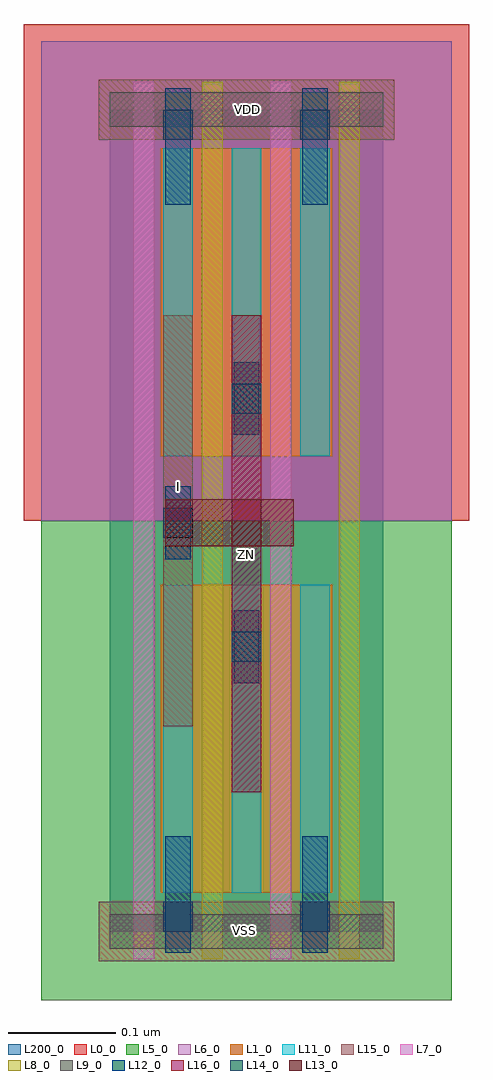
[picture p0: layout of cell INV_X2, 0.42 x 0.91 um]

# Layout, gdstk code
import gdstk
lib = gdstk.Library(unit=1e-6, precision=1e-09)
def R(c, l, rs):  # rectangles x0, y0, x1, y1
    for r in rs: c.add(gdstk.rectangle(r[:2], r[2:], *l))
def A(c, l, x, y, w, h, nx, ny, dx, dy):  # array of equal rectangles
    R(c, l, [(x+i*dx, y+j*dy, x+i*dx+w, y+j*dy+h) for i in range(nx) for j in range(ny)])
L0_0 = (0, 0)
L1_0 = (1, 0)
L5_0 = (5, 0)
L6_0 = (6, 0)
L7_0 = (7, 0)
L8_0 = (8, 0)
L9_0 = (9, 0)
L11_0 = (11, 0)
L12_0 = (12, 0)
L13_0 = (13, 0)
L14_0 = (14, 0)
L15_0 = (15, 0)
L16_0 = (16, 0)
L200_0 = (200, 0)

inv_x2 = lib.new_cell('INV_X2')
R(inv_x2, L0_0, [(-0.08,0.384,0.336,0.848)])
R(inv_x2, L1_0, [(0.048,0.036,0.208,0.324), (0.048,0.444,0.208,0.732)])
R(inv_x2, L5_0, [(-0.064,-0.064,0.32,0.384)])
R(inv_x2, L6_0, [(-0.064,0.384,0.32,0.832)])
R(inv_x2, L7_0, [(0.022,-0.026,0.042,0.794), (0.15,-0.026,0.17,0.794)])
R(inv_x2, L8_0, [(0.086,-0.026,0.106,0.794), (0.214,-0.026,0.234,0.794)])
R(inv_x2, L9_0, [(0,-0.016,0.256,0.016), (0,0.752,0.256,0.784)])
A(inv_x2, L11_0, 0.05, 0.036, 0.028, 0.288, 3, 2, 0.064, 0.408)
R(inv_x2, L12_0, [(0.052,-0.02,0.076,0.089), (0.18,-0.02,0.204,0.089), (0.116,0.232,0.14,0.3), (0.052,0.348,0.076,0.416), (0.116,0.464,0.14,0.532), (0.052,0.679,0.076,0.788), (0.18,0.679,0.204,0.788)])
R(inv_x2, L13_0, [(0.052,0.36,0.172,0.404)])
R(inv_x2, L14_0, [(0.05,0,0.078,0.028), (0.178,0,0.206,0.028), (0.114,0.252,0.142,0.28), (0.05,0.368,0.078,0.396), (0.114,0.484,0.142,0.512), (0.05,0.74,0.078,0.768), (0.178,0.74,0.206,0.768)])
R(inv_x2, L15_0, [(-0.01,-0.028,0.266,0.028), (0.05,0.192,0.078,0.576), (-0.01,0.74,0.266,0.796)])
R(inv_x2, L16_0, [(0.114,0.13,0.142,0.576)])
R(inv_x2, L200_0, [(0,0,0.256,0.768)])
inv_x2.add(gdstk.Label('VSS', (0.126,0.001), layer=15, texttype=20))
inv_x2.add(gdstk.Label('I', (0.064,0.416), layer=15, texttype=20))
inv_x2.add(gdstk.Label('VDD', (0.129,0.768), layer=15, texttype=20))
inv_x2.add(gdstk.Label('ZN', (0.128,0.352), layer=16, texttype=20))

lib.write_gds('INV_X2.gds')
